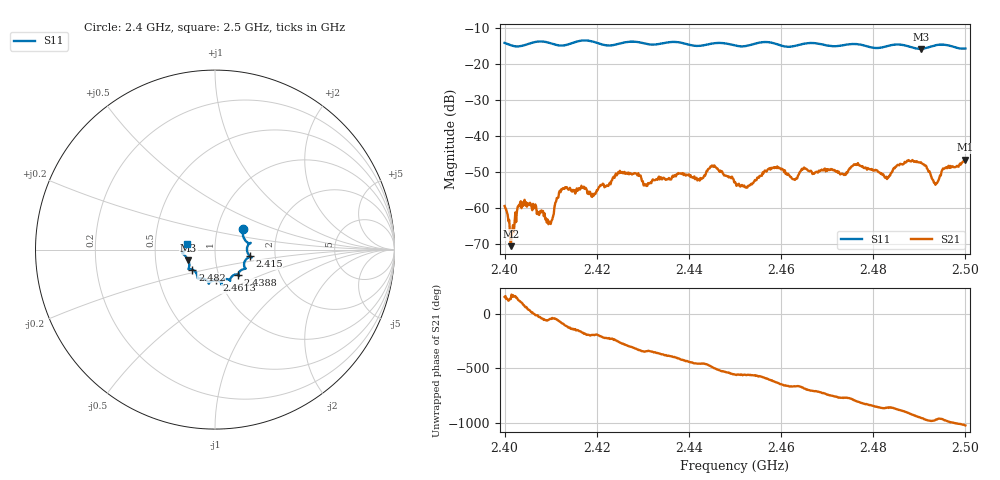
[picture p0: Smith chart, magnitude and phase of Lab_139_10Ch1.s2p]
# Hz S RI R 50
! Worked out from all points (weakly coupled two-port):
!   601 points, 2.4 GHz to 2.5 GHz, reference 50 ohm
!   highest |S21| = -46.67 dB at 2.5 GHz (marker M1); lowest = -70.6 dB at 2.4013 GHz (marker M2)
!   lowest |S11| = -15.9 dB at 2.4903 GHz (marker M3), VSWR 1.38, Z = 36.8 - j4.46 ohm
!   |S11| at or under -10 dB: start of sweep to end of sweep
!   S12 and S22 are empty: the file has one direction only
!   S11 on the Smith chart (normalised r, x): 2.4 GHz: 1.33, +0.31; 2.415 GHz: 1.47, -0.11; 2.4388 GHz: 1.24, -0.36; 2.4613 GHz: 0.96, -0.34; 2.482 GHz: 0.76, -0.17; 2.5 GHz: 0.72, +0.05
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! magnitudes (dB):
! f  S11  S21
! 2.4 GHz  -14.3  -59.5
! 2.4013 GHz  -14.9  -70.6
! 2.4038 GHz  -15.0  -58.5
! 2.4097 GHz  -14.2  -63.8
! 2.4123 GHz  -15.0  -54.8
! 2.415 GHz  -14.2  -55.4
! 2.4167 GHz  -13.6  -53.9
! 2.4193 GHz  -14.0  -56.6
! 2.425 GHz  -14.4  -49.7
! 2.4333 GHz  -14.6  -51.7
! 2.4388 GHz  -14.4  -50.9
! 2.4423 GHz  -15.1  -52.4
! 2.4453 GHz  -14.4  -48.6
! 2.45 GHz  -15.0  -52.8
! 2.4613 GHz  -15.3  -50.9
! 2.4667 GHz  -14.3  -50.1
! 2.4763 GHz  -14.6  -48.1
! 2.482 GHz  -15.5  -50.9
! 2.4833 GHz  -15.1  -51.5
! 2.4903 GHz  -15.9  -47.4
! 2.4937 GHz  -14.9  -53.2
! 2.5 GHz  -15.8  -46.7
